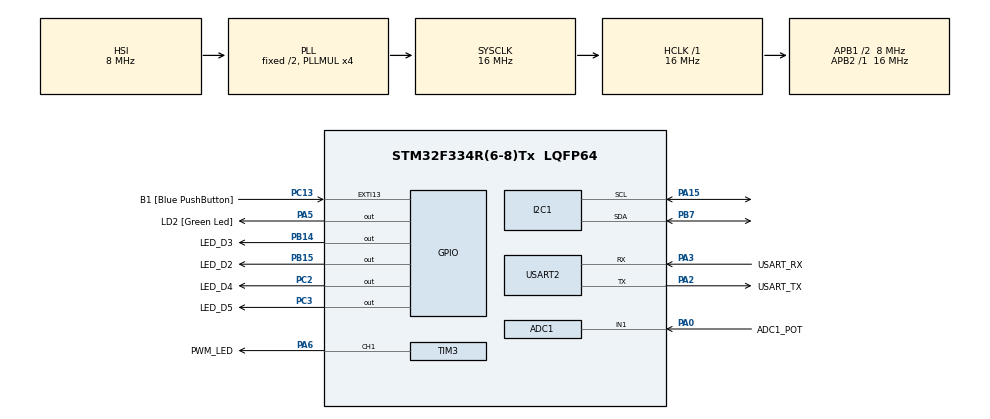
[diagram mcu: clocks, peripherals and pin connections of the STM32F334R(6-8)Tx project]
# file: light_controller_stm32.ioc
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ADC1.Channel-0\#ChannelRegularConversion=ADC_CHANNEL_1
ADC1.ContinuousConvMode=ENABLE
ADC1.DMAContinuousRequests=ENABLE
ADC1.NbrOfConversionFlag=1
ADC1.Offset-0\#ChannelRegularConversion=0
ADC1.OffsetNumber-0\#ChannelRegularConversion=ADC_OFFSET_NONE
ADC1.Rank-0\#ChannelRegularConversion=1
ADC1.SamplingTime-0\#ChannelRegularConversion=ADC_SAMPLETIME_1CYCLE_5
ADC1.SamplingTimeOPAMP-0\#ChannelRegularConversion=ADC_SAMPLETIME_61CYCLES_5
ADC1.SubFamily=STM32F334x8
ADC1.master=1
Dma.ADC1.0.Direction=DMA_PERIPH_TO_MEMORY
Dma.ADC1.0.Instance=DMA1_Channel1
Dma.ADC1.0.MemDataAlignment=DMA_MDATAALIGN_HALFWORD
Dma.ADC1.0.MemInc=DMA_MINC_ENABLE
Dma.ADC1.0.Mode=DMA_CIRCULAR
Dma.ADC1.0.PeriphDataAlignment=DMA_PDATAALIGN_HALFWORD
Dma.ADC1.0.PeriphInc=DMA_PINC_DISABLE
Dma.ADC1.0.Priority=DMA_PRIORITY_LOW
Dma.Request0=ADC1
I2C1.Timing=0x00201D2B
Mcu.Family=STM32F3
Mcu.Name=STM32F334R(6-8)Tx
Mcu.Package=LQFP64
NVIC.DMA1_Channel1_IRQn=true\:0\:0\:false\:false\:true\:false\:true\:true
NVIC.I2C1_ER_IRQn=true\:0\:0\:false\:false\:true\:true\:true\:true
NVIC.I2C1_EV_IRQn=true\:0\:0\:false\:false\:true\:true\:true\:true
NVIC.PriorityGroup=NVIC_PRIORITYGROUP_0
NVIC.TIM1_UP_TIM16_IRQn=true\:0\:0\:false\:false\:true\:true\:true\:true
PA0.GPIO_Label=ADC1_POT
PA0.Mode=IN1-Single-Ended
PA0.Signal=ADC1_IN1
PA13.GPIO_Label=TMS
PA13.Mode=Serial_Wire
PA13.Signal=SYS_JTMS-SWDIO
PA14.GPIO_Label=TCK
PA14.Mode=Serial_Wire
PA14.Signal=SYS_JTCK-SWCLK
PA15.GPIO_Pu=GPIO_PULLUP
PA15.Mode=I2C
PA15.Signal=I2C1_SCL
PA2.GPIO_Label=USART_TX
PA2.Mode=Asynchronous
PA2.Signal=USART2_TX
PA3.GPIO_Label=USART_RX
PA3.Mode=Asynchronous
PA3.Signal=USART2_RX
PA5.GPIO_Label=LD2 [Green Led]
PA5.Signal=GPIO_Output
PA6.GPIO_Label=PWM_LED
PA6.Signal=S_TIM3_CH1
PB14.GPIO_Label=LED_D3
PB14.Signal=GPIO_Output
PB15.GPIO_Label=LED_D2
PB15.Signal=GPIO_Output
PB3.GPIO_Label=SWO
PB3.Signal=SYS_JTDO-TRACESWO
PB7.GPIO_Pu=GPIO_PULLUP
PB7.Mode=I2C
PB7.Signal=I2C1_SDA
PC13.GPIO_Label=B1 [Blue PushButton]
PC13.GPIO_ModeDefaultEXTI=GPIO_MODE_IT_FALLING
PC13.Signal=GPXTI13
PC14\ /\ OSC32_IN.Mode=LSE-External-Oscillator
PC14\ /\ OSC32_IN.Signal=RCC_OSC32_IN
PC15\ /\ OSC32_OUT.GPIO_Label=RCC_OSC32_OUT
PC15\ /\ OSC32_OUT.Mode=LSE-External-Oscillator
PC15\ /\ OSC32_OUT.Signal=RCC_OSC32_OUT
PC2.GPIO_Label=LED_D4
PC2.Signal=GPIO_Output
PC3.GPIO_Label=LED_D5
PC3.Signal=GPIO_Output
PF0\ /\ OSC_IN.Mode=HSE-External-Clock-Source
PF0\ /\ OSC_IN.Signal=RCC_OSC_IN
PF1\ /\ OSC_OUT.Signal=RCC_OSC_OUT
ProjectManager.HeapSize=0x200
ProjectManager.StackSize=0x400
ProjectManager.TargetToolchain=CMake
RCC.ADC12PRES=RCC_ADC12PLLCLK_DIV16
RCC.AHBFreq_Value=16000000
RCC.APB1CLKDivider=RCC_HCLK_DIV2
RCC.APB1Freq_Value=8000000
RCC.APB1TimFreq_Value=16000000
RCC.APB2Freq_Value=16000000
RCC.APB2TimFreq_Value=16000000
RCC.CortexFreq_Value=16000000
RCC.FLatency-AdvancedSettings=FLASH_LATENCY_0
RCC.HCLKFreq_Value=16000000
RCC.HSE_VALUE=8000000
RCC.HSI_VALUE=8000000
RCC.PLLMUL=RCC_PLL_MUL4
RCC.SYSCLKFreq_VALUE=16000000
RCC.SYSCLKSourceVirtual=RCC_SYSCLKSOURCE_PLLCLK
SH.S_TIM3_CH1.0=TIM3_CH1,PWM Generation1 CH1
TIM1.AutoReloadPreload=TIM_AUTORELOAD_PRELOAD_ENABLE
TIM1.Period=999
TIM1.Prescaler=63
TIM3.Channel-PWM\ Generation1\ CH1=TIM_CHANNEL_1
TIM3.Period=999
TIM3.Prescaler=63
USART2.VirtualMode-Asynchronous=VM_ASYNC
VP_TIM1_VS_ClockSourceINT.Mode=Internal
board=NUCLEO-F334R8

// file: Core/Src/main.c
/* USER CODE BEGIN Header */
/**
  ******************************************************************************
  * @file           : main.c
  * @brief          : Main program body
  ******************************************************************************
  * @attention
  *
  * Copyright (c) 2026 STMicroelectronics.
  * All rights reserved.
  *
  * This software is licensed under terms that can be found in the LICENSE file
  * in the root directory of this software component.
  * If no LICENSE file comes with this software, it is provided AS-IS.
  *
  ******************************************************************************
  */
/* USER CODE END Header */
#include "main.h"
#include "adc.h"
#include "dma.h"
#include "i2c.h"
#include "stm32f3xx_hal.h"
#include "tim.h"
#include "usart.h"
#include "gpio.h"

/* USER CODE BEGIN Includes */
#include <stdint.h>
#include <stdio.h>
/* USER CODE END Includes */

/* USER CODE BEGIN PTD */

// Conxtexto que será compartilhado entre os estados
typedef struct {
} Context;

// Definição do código de retorno dos estados
typedef enum {
  SETUP_STATE,               // Estado de incialização
  READ_SENSOR_STATE,         // Leitura do sensor de luminosidade
  READ_POT_STATE,            // Leitura do potenciômetro via ADC
  CONTROL_STATE,             // Calcula o PWM
  APPLY_PWM_STATE,           // Atualiza o PWM do LED
  UPDATE_INDICATORS_STATE,   // Atualiza os 4 LEDs indicadores
  WAIT_STATE,                // Aguarda o tempo de resposta
  ERROR_STATE,               // Trata o erro
} StateId;

/* USER CODE END PTD */

/* USER CODE BEGIN PD */

// Porcentagens do PWM
#define PWM_0_PCT 0
#define PWM_25_PCT 250
#define PWM_50_PCT 500
#define PWM_75_PCT 750
#define PWM_90_PCT 900

#define ARR 999

#define ERROR_BLINK_DELAY_MS 250

#define PWM_CONTROL_STEP 100

// Variáveis I²C
#define GY302_I2C_ADDR (0x5C << 1)
#define GY302_I2C_POWER_ON 0x01
#define GY302_I2C_ON_TIME_HR_MODE 0x20

/* USER CODE END PD */

/* USER CODE BEGIN PV */

uint32_t sensor_value = 0;

uint16_t adc_buffer[16];
uint16_t pot_value = 0;

uint16_t pwm_target = 0;
uint16_t pwm_current = 0;

uint32_t response_delay_ms = 100;
uint16_t last_update_ms = 0;

/* USER CODE END PV */

void SystemClock_Config(void);
/* USER CODE BEGIN PFP */

// Protótipo da função estado
typedef StateId StateFunction(Context *ctx) ;

/* USER CODE END PFP */

/* USER CODE BEGIN 0 */

// Habilita o uso do printf para enviar dados pelo UART
void _write(int file, char *ptr, int len) {
  // Transmit the data over UART
  HAL_UART_Transmit(&huart2, (uint8_t*)ptr, len, HAL_MAX_DELAY);
}

// Função para obter a média dos valores do potenciometro
uint16_t get_pot_average(uint16_t *vector)
{
  uint16_t sum = 0;
  for (uint16_t i = 0; i < 16; i++)
  {
    sum += vector[i] >> 4; // divide por 16, equivalente a deslocar 4 bits para a direita
  }

  return sum;
}

// Função do estado de setup
StateId state_setup(Context *ctx)
{
  // printf("[INFO] Starting system...\n");

  // Incia o PWM do TIM3 CH1
  if (HAL_TIM_PWM_Start( &htim3, TIM_CHANNEL_1) != HAL_OK) {
    // printf("[ERROR] Erro starting TIM3 PWM\n");
    return ERROR_STATE;
  }

  // Inicia o PWM desligado
  __HAL_TIM_SET_COMPARE(&htim3, TIM_CHANNEL_1, PWM_0_PCT);

  pwm_current = 0;
  pwm_target = 0;

  // Incia com os LEDs desligados
  HAL_GPIO_WritePin(LED_D2_GPIO_Port, LED_D2_Pin, GPIO_PIN_RESET);
  HAL_GPIO_WritePin(LED_D3_GPIO_Port, LED_D3_Pin, GPIO_PIN_RESET);
  HAL_GPIO_WritePin(LED_D4_GPIO_Port, LED_D4_Pin, GPIO_PIN_RESET);
  HAL_GPIO_WritePin(LED_D5_GPIO_Port, LED_D5_Pin, GPIO_PIN_RESET);

  // printf("[INFO] System OK\n");

  return READ_SENSOR_STATE;
}

// Função do estado de leitura do sensor
StateId state_read_sensor(Context *ctx)
{
  // printf("[INFO] Reading sensor...\n");

  uint8_t power_on = GY302_I2C_POWER_ON;
  uint8_t measure = GY302_I2C_ON_TIME_HR_MODE;
  uint8_t rx_data[2] = {0};

  // Solicia iniciação do sensor
  HAL_I2C_Master_Transmit(&hi2c1, GY302_I2C_ADDR, &power_on, 1, 100);

  // Solicia a leitura da luminosidade
  HAL_I2C_Master_Transmit(&hi2c1, GY302_I2C_ADDR, &measure, 1, 100);

  // Tempo de leitura (datasheet)
  HAL_Delay(180);

  // Lê o sensor de luminosidade
  if (HAL_I2C_Master_Receive(&hi2c1, GY302_I2C_ADDR, rx_data, 2, 100) != HAL_OK) {
    printf("[ERROR] Erro reading sensor\n");
    return ERROR_STATE;
  }

  // Converte o valor bruto
  uint16_t raw_val = (rx_data[0] << 8) | rx_data[1];
  sensor_value = (uint32_t)raw_val / 1.2;

  printf("[INFO] Raw: %u | Lux: %lu\n", raw_val, sensor_value);

  return READ_POT_STATE;
}

// Função do estado de leitura do potenciometro
StateId state_read_pot(Context *ctx)
{
  // printf("[INFO] Reading potentiometer...\n");

  // Obtêm o valor
  pot_value = get_pot_average(adc_buffer);

  // printf("[INFO] Potentiometer: %u\n", pot_value);

  // Transforma o adc em milisegudos (20ms a 4s)
  response_delay_ms = 20 + ((uint32_t)pot_value * 3980) / 4095;

  // printf("[INFO] Response time: %u\n", pot_value);

  return CONTROL_STATE;
}

// Função do estado de controle e cálculo do PWM
StateId state_control(Context *ctx)
{
  // printf("[INFO] Controlling PWM...\n");

  // Converte o nível do sensor em em CCR (duty cycle)
  pwm_target = ((uint32_t)sensor_value * ARR) / 54612;

  // limita o valor
  if (pwm_target > 999)
    pwm_target = 999;

  printf("[INFO] Current: %u | Target: %u\n", pwm_current, pwm_target);

  return APPLY_PWM_STATE;
}

// Função do estado de aplicação do PWM
StateId state_apply_pwm(Context *ctx)
{
  // printf("[INFO] Applying PWM...======================\n");

  // Reduz o PWM aos poucos
  if (pwm_current < pwm_target)
  {
    if (pwm_current + PWM_CONTROL_STEP >= pwm_target)
    {
      pwm_current = pwm_target;
    }
    else
    {
      pwm_current = pwm_current + PWM_CONTROL_STEP;
    }
  }
  else if (pwm_current > pwm_target)
  {
    if (pwm_current - PWM_CONTROL_STEP <= 0)
    {
      pwm_current = 0;
    }
    else
    {
      pwm_current = pwm_current - PWM_CONTROL_STEP;
    }
  }

  // Atualiza o valor do CCR
  __HAL_TIM_SET_COMPARE(&htim3, TIM_CHANNEL_1, pwm_current);

  // printf("[INFO] TIM channel 1 CRR: %u\n", pwm_current);

  return UPDATE_INDICATORS_STATE;
}

//Função do estado de atualização dos indicadores
StateId state_update_indicators(Context *ctx)
{
  // printf("[INFO] Updating indicators...\n");

  // Verifica qual o LED que deve ser ligado e desliga os demais

  // 25% do PWM
  if (pwm_current >= PWM_25_PCT)
  {
    HAL_GPIO_WritePin(LED_D2_GPIO_Port, LED_D2_Pin, GPIO_PIN_SET);
  }
  else
  {
    HAL_GPIO_WritePin(LED_D2_GPIO_Port, LED_D2_Pin, GPIO_PIN_RESET);
  }

  // 50% do PWM
  if (pwm_current >= PWM_50_PCT)
  {
    HAL_GPIO_WritePin(LED_D3_GPIO_Port, LED_D3_Pin, GPIO_PIN_SET);
  }
  else
  {
    HAL_GPIO_WritePin(LED_D3_GPIO_Port, LED_D3_Pin, GPIO_PIN_RESET);
  }

  // 75% do PWM
  if (pwm_current >= PWM_75_PCT)
  {
    HAL_GPIO_WritePin(LED_D4_GPIO_Port, LED_D4_Pin, GPIO_PIN_SET);
  }
  else
  {
    HAL_GPIO_WritePin(LED_D4_GPIO_Port, LED_D4_Pin, GPIO_PIN_RESET);
  }

  // 90% do PWM
  if (pwm_current >= PWM_90_PCT)
  {
    HAL_GPIO_WritePin(LED_D5_GPIO_Port, LED_D5_Pin, GPIO_PIN_SET);
  }
  else
  {
    HAL_GPIO_WritePin(LED_D5_GPIO_Port, LED_D5_Pin, GPIO_PIN_RESET);
  }

  return WAIT_STATE;
}

// Função do estado de aguardo do tempo de leitura do sensor
StateId state_wait(Context *ctx)
{
  // Verifica se o tempo atual é maior que o tempo de resposta
  if((HAL_GetTick() - last_update_ms) >= response_delay_ms)
  {
    // Atualiza o ultima atualização
    last_update_ms = HAL_GetTick();

    return READ_SENSOR_STATE;
  }

  return APPLY_PWM_STATE;
}

// Função do estado de erro
StateId state_error(Context *ctx)
{
  // printf("[ERROR] Error\n");

  // Deliga o PWM
  __HAL_TIM_SET_COMPARE(&htim3, TIM_CHANNEL_1, PWM_0_PCT);

  // Começa a piscar os LEDs indicadores
  while (1) {
    HAL_GPIO_TogglePin(LED_D2_GPIO_Port, LED_D2_Pin);
    HAL_GPIO_TogglePin(LED_D3_GPIO_Port, LED_D3_Pin);
    HAL_GPIO_TogglePin(LED_D4_GPIO_Port, LED_D4_Pin);
    HAL_GPIO_TogglePin(LED_D5_GPIO_Port, LED_D5_Pin);

    HAL_Delay(ERROR_BLINK_DELAY_MS);
  }
}

StateId currentState = SETUP_STATE;

/* USER CODE END 0 */

int main(void)
{

  /* USER CODE BEGIN 1 */

  // Inicia tipos
  Context ctx;

  // Define tabela de estados
  StateFunction *state_table[] = {
    [SETUP_STATE] = state_setup,
    [READ_SENSOR_STATE] = state_read_sensor,
    [READ_POT_STATE] = state_read_pot,
    [CONTROL_STATE] = state_control,
    [APPLY_PWM_STATE] = state_apply_pwm,
    [UPDATE_INDICATORS_STATE] = state_update_indicators,
    [WAIT_STATE] = state_wait,
    [ERROR_STATE] = state_error
  };

  /* USER CODE END 1 */

  /* MCU Configuration--------------------------------------------------------*/

  /* Reset of all peripherals, Initializes the Flash interface and the Systick. */
  HAL_Init();

  /* Configure the system clock */
  SystemClock_Config();

  /* Initialize all configured peripherals */
  MX_GPIO_Init();
  MX_DMA_Init();
  MX_ADC1_Init();
  MX_I2C1_Init();
  MX_USART2_UART_Init();
  MX_TIM1_Init();
  MX_TIM3_Init();
  /* USER CODE BEGIN 2 */

  // Inicializa DMA para a leitura do potenciometro
  HAL_ADCEx_Calibration_Start(&hadc1, ADC_SINGLE_ENDED);
  HAL_ADC_Start_DMA(&hadc1, (uint32_t*)adc_buffer, 16);

  /* USER CODE END 2 */

  /* Infinite loop */
  while (1)
  {

    /* USER CODE BEGIN 3 */

    // Inicia máquina de estados
    currentState = state_table[currentState](&ctx);
  }

  return 0;
  /* USER CODE END 3 */
}

void SystemClock_Config(void)
{
  RCC_OscInitTypeDef RCC_OscInitStruct = {0};
  RCC_ClkInitTypeDef RCC_ClkInitStruct = {0};
  RCC_PeriphCLKInitTypeDef PeriphClkInit = {0};

  /** Initializes the RCC Oscillators according to the specified parameters
  * in the RCC_OscInitTypeDef structure.
  */
  RCC_OscInitStruct.OscillatorType = RCC_OSCILLATORTYPE_HSI;
  RCC_OscInitStruct.HSIState = RCC_HSI_ON;
  RCC_OscInitStruct.HSICalibrationValue = RCC_HSICALIBRATION_DEFAULT;
  RCC_OscInitStruct.PLL.PLLState = RCC_PLL_ON;
  RCC_OscInitStruct.PLL.PLLSource = RCC_PLLSOURCE_HSI;
  RCC_OscInitStruct.PLL.PLLMUL = RCC_PLL_MUL4;
  if (HAL_RCC_OscConfig(&RCC_OscInitStruct) != HAL_OK)
  {
    Error_Handler();
  }

  /** Initializes the CPU, AHB and APB buses clocks
  */
  RCC_ClkInitStruct.ClockType = RCC_CLOCKTYPE_HCLK|RCC_CLOCKTYPE_SYSCLK
                              |RCC_CLOCKTYPE_PCLK1|RCC_CLOCKTYPE_PCLK2;
  RCC_ClkInitStruct.SYSCLKSource = RCC_SYSCLKSOURCE_PLLCLK;
  RCC_ClkInitStruct.AHBCLKDivider = RCC_SYSCLK_DIV1;
  RCC_ClkInitStruct.APB1CLKDivider = RCC_HCLK_DIV2;
  RCC_ClkInitStruct.APB2CLKDivider = RCC_HCLK_DIV1;

  if (HAL_RCC_ClockConfig(&RCC_ClkInitStruct, FLASH_LATENCY_0) != HAL_OK)
  {
    Error_Handler();
  }
  PeriphClkInit.PeriphClockSelection = RCC_PERIPHCLK_I2C1|RCC_PERIPHCLK_TIM1
                              |RCC_PERIPHCLK_ADC12;
  PeriphClkInit.Adc12ClockSelection = RCC_ADC12PLLCLK_DIV16;
  PeriphClkInit.I2c1ClockSelection = RCC_I2C1CLKSOURCE_HSI;
  PeriphClkInit.Tim1ClockSelection = RCC_TIM1CLK_HCLK;
  if (HAL_RCCEx_PeriphCLKConfig(&PeriphClkInit) != HAL_OK)
  {
    Error_Handler();
  }
}

void Error_Handler(void)
{
  __disable_irq();
  while (1)
  {
  }
}
